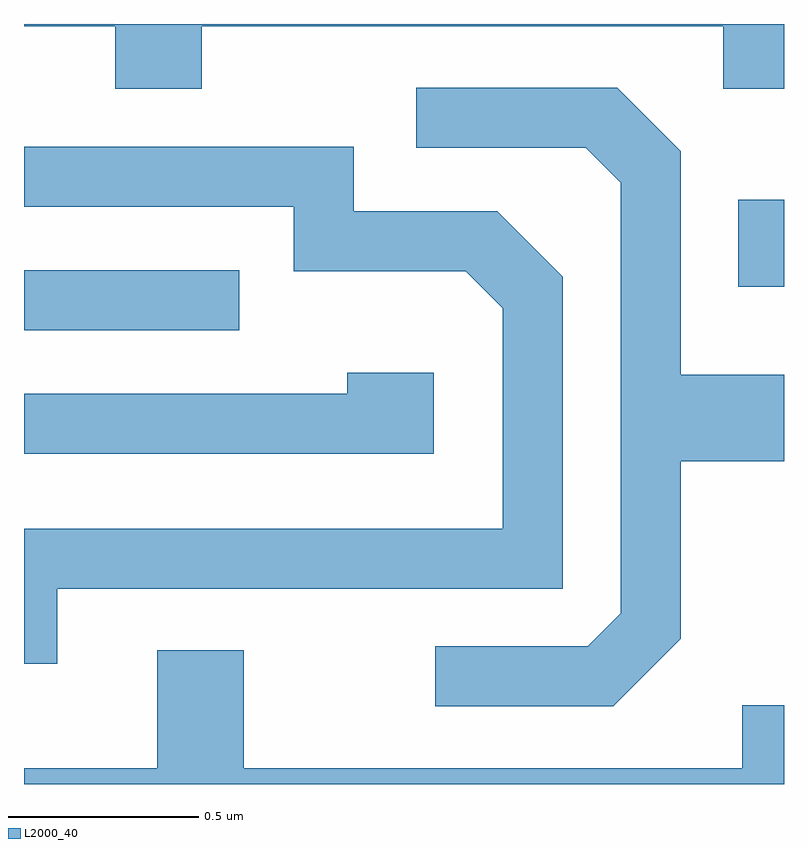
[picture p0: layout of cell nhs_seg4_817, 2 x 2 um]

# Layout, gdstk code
import gdstk
lib = gdstk.Library(unit=1e-6, precision=1e-09)
def R(c, l, rs):  # rectangles x0, y0, x1, y1
    for r in rs: c.add(gdstk.rectangle(r[:2], r[2:], *l))
def P(c, l, *ps):  # polygons
    for p in ps: c.add(gdstk.Polygon(p, *l))
L2000_40 = (2000, 40)

nhs_seg4_817 = lib.new_cell('nhs_seg4_817')
R(nhs_seg4_817, L2000_40, [(190.611,1387.176,191.178,1387.334), (192.491,1387.291,192.611,1387.519)])
P(nhs_seg4_817, L2000_40, [(191.079,1387.976),(192.451,1387.976),(192.451,1387.811),(192.611,1387.811),(192.611,1387.982),(190.611,1387.982),(190.611,1387.976),(190.851,1387.976),(190.851,1387.811),(191.079,1387.811)],
  [(192.339,1386.364),(192.339,1386.831),(192.611,1386.831),(192.611,1387.059),(192.339,1387.059),(192.339,1387.647),(192.172,1387.814),(191.643,1387.814),(191.643,1387.656),(192.089,1387.656),(192.181,1387.564),(192.181,1386.432),(192.094,1386.344),(191.693,1386.344),(191.693,1386.186),(192.162,1386.186)],
  [(190.699,1386.496),(192.029,1386.496),(192.029,1387.317),(191.857,1387.489),(191.479,1387.489),(191.479,1387.659),(190.611,1387.659),(190.611,1387.501),(191.321,1387.501),(191.321,1387.331),(191.774,1387.331),(191.871,1387.234),(191.871,1386.654),(190.611,1386.654),(190.611,1386.298),(190.699,1386.298)],
  [(191.689,1387.064),(191.461,1387.064),(191.461,1387.009),(190.611,1387.009),(190.611,1386.851),(191.689,1386.851)],
  [(192.611,1386.189),(192.501,1386.189),(192.501,1386.024),(191.189,1386.024),(191.189,1386.334),(190.961,1386.334),(190.961,1386.024),(190.611,1386.024),(190.611,1385.982),(192.611,1385.982)])

lib.write_gds('nhs_seg4_817.gds')
